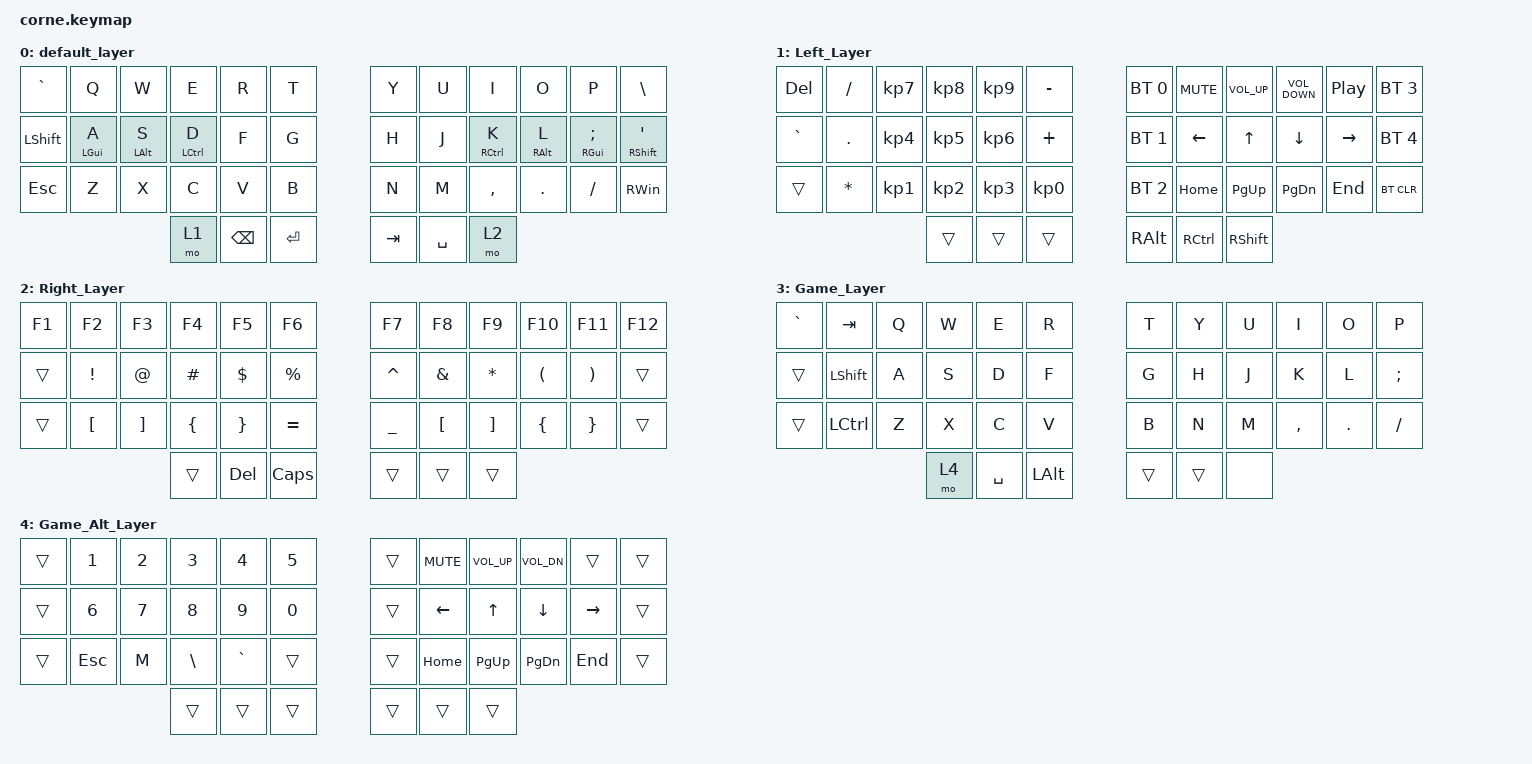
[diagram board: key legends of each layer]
/*
 * Copyright (c) 2020 The ZMK Contributors
 *
 * SPDX-License-Identifier: MIT
 */

#include <behaviors.dtsi>
#include <dt-bindings/zmk/bt.h>
#include <dt-bindings/zmk/keys.h>

/ {
    behaviors {
        hml: homerow_mods_left {
            compatible = "zmk,behavior-hold-tap";
            label = "HOMEROW_MODS_LEFT_HAND";
            bindings = <&kp>, <&kp>;

            #binding-cells = <2>;
            tapping-term-ms = <250>;
            hold-trigger-key-positions = <6 7 9 8 6 7 8 9 10 11 18 19 20 21 22 23 30 31 32 33 34 35 39 40 41 27 28 13 14>;
            flavor = "tap-preferred";
        };

        hmr: homerow_mods_right {
            compatible = "zmk,behavior-hold-tap";
            label = "HOMEROW_MODS_RIGHT_HAND";
            bindings = <&kp>, <&kp>;

            #binding-cells = <2>;
            tapping-term-ms = <250>;
            hold-trigger-key-positions = <0 1 2 3 4 5 12 13 14 15 16 17 24 25 26 27 28 29 26 27 28 29 36 37 38>;
            flavor = "tap-preferred";
        };

        mo_to_layer: mo_to_layer {
            compatible = "zmk,behavior-hold-tap";
            label = "MO_TO_LAYER";
            bindings = <&mo>, <&to>;

            #binding-cells = <2>;
            tapping-term-ms = <200>;
        };

        htShift: htShift {
            compatible = "zmk,behavior-hold-tap";
            label = "HTSHIFT";
            bindings = <&kp>, <&kp>;

            #binding-cells = <2>;
            tapping-term-ms = <250>;
            hold-trigger-key-positions = <6 7 9 8 6 7 8 9 10 18 19 20 21 22 30 31 32 33 34 39 40 27 28 13 14 25 26 1 2 3 4 5 17 16 15 29 37 38>;
            flavor = "tap-preferred";
        };
    };

    combos {
        compatible = "zmk,combos";

        comLauncher {
            bindings = <&kp LA(SPACE)>;
            key-positions = <37 38>;
        };

        To_Both_Layer {
            bindings = <&to 3>;
            key-positions = <36 41>;
        };

        comEscape {
            bindings = <&kp RIGHT_SHIFT>;
            key-positions = <40 39>;
        };

        Home {
            bindings = <&to 0>;
            key-positions = <38 39>;
        };

        ctrl_alt_delete {
            bindings = <&kp LC(LA(DEL))>;
            key-positions = <15 14 0>;
        };

        numlock {
            bindings = <&kp KP_NUMLOCK>;
            key-positions = <0 11>;
        };

        Win_left {
            bindings = <&kp LEFT_WIN>;
            key-positions = <36 37>;
        };
    };

    keymap {
        compatible = "zmk,keymap";

        default_layer {
            // -----------------------------------------------------------------------------------------
            // |  TAB |  Q  |  W  |  E  |  R  |  T  |   |  Y  |  U   |  I  |  O  |  P  | BKSP |
            // | CTRL |  A  |  S  |  D  |  F  |  G  |   |  H  |  J   |  K  |  L  |  ;  |  '   |
            // | SHFT |  Z  |  X  |  C  |  V  |  B  |   |  N  |  M   |  ,  |  .  |  /  | ESC  |
            //                    | GUI | LWR | SPC |   | ENT | RSE  | ALT |

            bindings = <
&kp GRAVE       &kp Q            &kp W            &kp E         &kp R          &kp T        &kp Y    &kp U      &kp I         &kp O             &kp P                     &kp BACKSLASH
&kp LEFT_SHIFT  &hml LEFT_GUI A  &hml LEFT_ALT S  &hml LCTRL D  &kp F          &kp G        &kp H    &kp J      &hmr RCTRL K  &hmr RIGHT_ALT L  &hmr RIGHT_GUI SEMICOLON  &htShift RIGHT_SHIFT SQT
&kp ESC         &kp Z            &kp X            &kp C         &kp V          &kp B        &kp N    &kp M      &kp COMMA     &kp DOT           &kp FSLH                  &kp RIGHT_WIN
                                                  &mo 1         &kp BACKSPACE  &kp ENTER    &kp TAB  &kp SPACE  &mo 2
            >;
        };

        Left_Layer {
            // -----------------------------------------------------------------------------------------
            // |  TAB |  1  |  2  |  3  |  4  |  5  |   |  6  |  7  |  8  |  9  |  0  | BKSP |
            // | BTCLR| BT1 | BT2 | BT3 | BT4 | BT5 |   | LFT | DWN |  UP | RGT |     |      |
            // | SHFT |     |     |     |     |     |   |     |     |     |     |     |      |
            //                    | GUI |     | SPC |   | ENT |     | ALT |

            bindings = <
&kp DEL    &kp FSLH      &kp KP_NUMBER_7  &kp KP_NUMBER_8  &kp KP_NUMBER_9  &kp MINUS          &bt BT_SEL 0   &kp C_MUTE  &kp C_VOLUME_UP  &kp C_VOLUME_DOWN  &kp C_PLAY_PAUSE  &bt BT_SEL 3
&kp GRAVE  &kp PERIOD    &kp KP_NUMBER_4  &kp KP_NUMBER_5  &kp KP_NUMBER_6  &kp PLUS           &bt BT_SEL 1   &kp LEFT    &kp UP_ARROW     &kp DOWN           &kp RIGHT         &bt BT_SEL 4
&trans     &kp ASTERISK  &kp KP_NUMBER_1  &kp KP_N2        &kp KP_N3        &kp KP_NUMBER_0    &bt BT_SEL 2   &kp HOME    &kp PG_UP        &kp PAGE_DOWN      &kp END           &bt BT_CLR
                                          &trans           &trans           &trans             &kp RIGHT_ALT  &kp RCTRL   &kp RIGHT_SHIFT
            >;
        };

        Right_Layer {
            // -----------------------------------------------------------------------------------------
            // |  TAB |  !  |  @  |  #  |  $  |  %  |   |  ^  |  &  |  *  |  (  |  )  | BKSP |
            // | CTRL |     |     |     |     |     |   |  -  |  =  |  [  |  ]  |  \  |  `   |
            // | SHFT |     |     |     |     |     |   |  _  |  +  |  {  |  }  | "|" |  ~   |
            //                    | GUI |     | SPC |   | ENT |     | ALT |

            bindings = <
&kp F1  &kp F2            &kp F3             &kp F4          &kp F5           &kp F6          &kp F7     &kp F8            &kp F9             &kp F10               &kp F11                &kp F12
&trans  &kp EXCL          &kp AT_SIGN        &kp HASH        &kp DOLLAR       &kp PERCENT     &kp CARET  &kp AMPERSAND     &kp ASTERISK       &kp LEFT_PARENTHESIS  &kp RIGHT_PARENTHESIS  &trans
&trans  &kp LEFT_BRACKET  &kp RIGHT_BRACKET  &kp LEFT_BRACE  &kp RIGHT_BRACE  &kp EQUAL       &kp UNDER  &kp LEFT_BRACKET  &kp RIGHT_BRACKET  &kp LEFT_BRACE        &kp RIGHT_BRACE        &trans
                                             &trans          &kp DELETE       &kp CAPSLOCK    &trans     &trans            &trans
            >;
        };

        Game_Layer {
            bindings = <
&kp GRAVE  &kp TAB         &kp Q  &kp W  &kp E      &kp R           &kp T   &kp Y   &kp U  &kp I      &kp O    &kp P
&trans     &kp LEFT_SHIFT  &kp A  &kp S  &kp D      &kp F           &kp G   &kp H   &kp J  &kp K      &kp L    &kp SEMI
&trans     &kp LCTRL       &kp Z  &kp X  &kp C      &kp V           &kp B   &kp N   &kp M  &kp COMMA  &kp DOT  &kp FSLH
                                  &mo 4  &kp SPACE  &kp LEFT_ALT    &trans  &trans  &none
            >;
        };

        Game_Alt_Layer {
            bindings = <
&trans  &kp N1   &kp N2  &kp N3         &kp N4     &kp N5    &trans  &kp C_MUTE  &kp C_VOLUME_UP  &kp C_VOL_DN   &trans     &trans
&trans  &kp N6   &kp N7  &kp N8         &kp N9     &kp N0    &trans  &kp LEFT    &kp UP           &kp DOWN       &kp RIGHT  &trans
&trans  &kp ESC  &kp M   &kp BACKSLASH  &kp GRAVE  &trans    &trans  &kp HOME    &kp PAGE_UP      &kp PAGE_DOWN  &kp END    &trans
                         &trans         &trans     &trans    &trans  &trans      &trans
            >;
        };
    };
};
